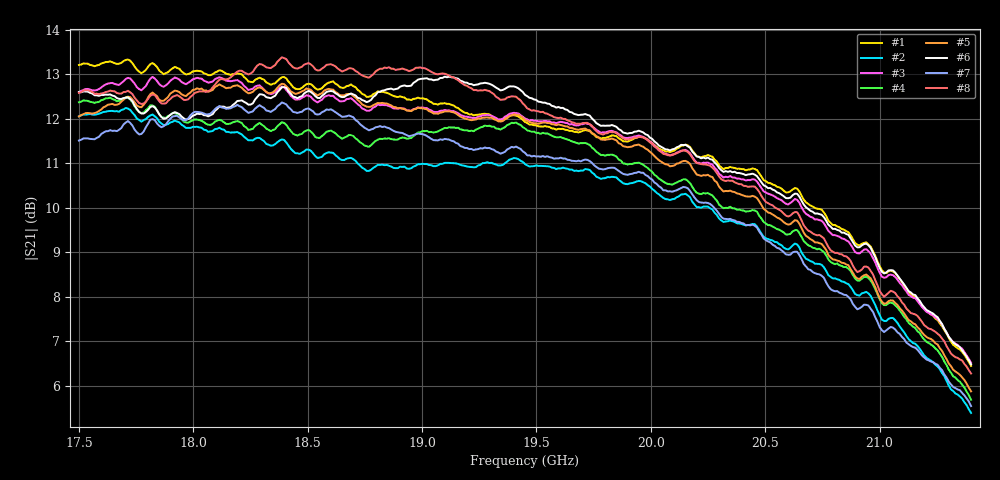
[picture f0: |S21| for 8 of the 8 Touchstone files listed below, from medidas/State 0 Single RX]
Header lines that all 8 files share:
!Created with skrf (http://scikit-rf.org).
# GHz S RI R 50.0
!freq ReS11 ImS11 ReS21 ImS21 ReS12 ImS12 ReS22 ImS22
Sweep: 17.5 GHz to 21.4 GHz
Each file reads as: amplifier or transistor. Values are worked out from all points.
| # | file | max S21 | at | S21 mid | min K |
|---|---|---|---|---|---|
| 1 | P0_single_phase_0_amp_63.s2p | 13.3 dB | 17.71 GHz | 11.9 dB at 19.45 GHz | 26.30 |
| 2 | P1_single_phase_0_amp_63.s2p | 12.2 dB | 17.7 GHz | 11.0 dB at 19.45 GHz | 33.38 |
| 3 | P2_single_phase_0_amp_63.s2p | 12.9 dB | 17.82 GHz | 12.0 dB at 19.45 GHz | 39.18 |
| 4 | P3_single_phase_0_amp_63.s2p | 12.5 dB | 17.64 GHz | 11.8 dB at 19.45 GHz | 41.15 |
| 5 | P4_single_phase_0_amp_63.s2p | 12.8 dB | 18.39 GHz | 12.0 dB at 19.45 GHz | 39.73 |
| 6 | P5_single_phase_0_amp_63.s2p | 12.9 dB | 19.1 GHz | 12.5 dB at 19.45 GHz | 37.82 |
| 7 | P6_single_phase_0_amp_63.s2p | 12.4 dB | 18.39 GHz | 11.2 dB at 19.45 GHz | 44.07 |
| 8 | P7_single_phase_0_amp_63.s2p | 13.4 dB | 18.39 GHz | 12.3 dB at 19.45 GHz | 44.26 |
